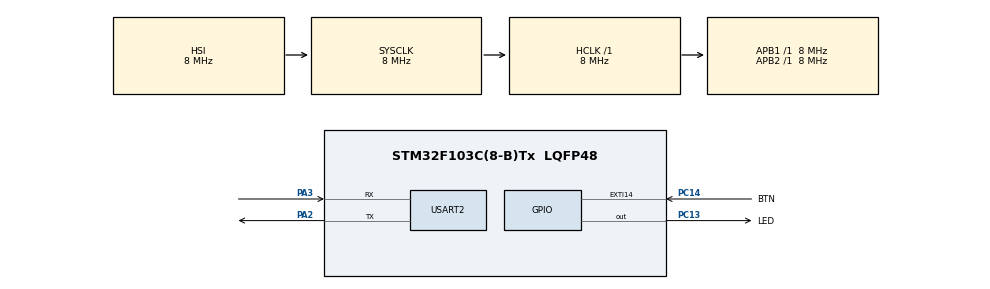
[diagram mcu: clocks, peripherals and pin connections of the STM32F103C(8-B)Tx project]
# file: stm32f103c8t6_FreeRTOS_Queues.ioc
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Mcu.Family=STM32F1
Mcu.Name=STM32F103C(8-B)Tx
Mcu.Package=LQFP48
NVIC.EXTI15_10_IRQn=true\:5\:0\:true\:false\:true\:true\:true\:true
NVIC.PriorityGroup=NVIC_PRIORITYGROUP_4
NVIC.TIM4_IRQn=true\:15\:0\:false\:false\:true\:false\:true\:true
NVIC.TimeBase=TIM4_IRQn
NVIC.TimeBaseIP=TIM4
PA13.Mode=Serial_Wire
PA13.Signal=SYS_JTMS-SWDIO
PA14.Mode=Serial_Wire
PA14.Signal=SYS_JTCK-SWCLK
PA2.Mode=Asynchronous
PA2.Signal=USART2_TX
PA3.Mode=Asynchronous
PA3.Signal=USART2_RX
PC13-TAMPER-RTC.GPIO_Label=LED
PC13-TAMPER-RTC.GPIO_ModeDefaultOutputPP=GPIO_MODE_OUTPUT_PP
PC13-TAMPER-RTC.GPIO_PuPd=GPIO_PULLUP
PC13-TAMPER-RTC.Signal=GPIO_Output
PC14-OSC32_IN.GPIO_Label=BTN
PC14-OSC32_IN.GPIO_ModeDefaultEXTI=GPIO_MODE_IT_FALLING
PC14-OSC32_IN.GPIO_PuPd=GPIO_PULLUP
PC14-OSC32_IN.Signal=GPXTI14
ProjectManager.HeapSize=0x200
ProjectManager.StackSize=0x400
ProjectManager.TargetToolchain=STM32CubeIDE
RCC.AHBFreq_Value=8000000
RCC.APB1Freq_Value=8000000
RCC.APB1TimFreq_Value=8000000
RCC.APB2Freq_Value=8000000
RCC.APB2TimFreq_Value=8000000
RCC.HCLKFreq_Value=8000000
RCC.SYSCLKFreq_VALUE=8000000
RCC.USBFreq_Value=8000000
USART2.VirtualMode=VM_ASYNC
VP_SYS_VS_tim4.Mode=TIM4
board=custom

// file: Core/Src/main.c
/* USER CODE BEGIN Header */
/**
  ******************************************************************************
  * @file           : main.c
  * @brief          : Main program body
  ******************************************************************************
  * @attention
  *
  * Copyright (c) 2025 STMicroelectronics.
  * All rights reserved.
  *
  * This software is licensed under terms that can be found in the LICENSE file
  * in the root directory of this software component.
  * If no LICENSE file comes with this software, it is provided AS-IS.
  *
  ******************************************************************************
  */
/* USER CODE END Header */
#include "main.h"

/* USER CODE BEGIN Includes */
#include "FreeRTOS.h"
#include "task.h"
#include "queue.h"
#include <string.h>
#include <stdio.h>
#include <portmacro.h>
/* USER CODE END Includes */

/* USER CODE BEGIN PTD */
typedef struct{
	GPIO_TypeDef *GPIOx;
	uint32_t Pin;
}gpio_data_t;
/* USER CODE END PTD */

UART_HandleTypeDef huart2;

/* USER CODE BEGIN PV */
QueueHandle_t xQueue = NULL;
/* USER CODE END PV */

void SystemClock_Config(void);
static void MX_GPIO_Init(void);
static void MX_USART2_UART_Init(void);

/* USER CODE BEGIN 0 */

/* CallBacks */

/** Callbacks **/
gpio_data_t Led = {
		.GPIOx = LED_GPIO_Port,
		.Pin = LED_Pin
};

void HAL_GPIO_EXTI_Callback(uint16_t GPIO_Pin){
	gpio_data_t *p = &Led;
	BaseType_t pxHigherTaskWoken = pdFALSE;

	xQueueSendFromISR(xQueue, &p, &pxHigherTaskWoken);

	if (pxHigherTaskWoken == pdTRUE){
		portYIELD_FROM_ISR(pxHigherTaskWoken);
	}
}

void TaskLed(void *pvParams){
	gpio_data_t *Led;

	while(1){
		xQueueReceive(xQueue, &Led, portMAX_DELAY);
		HAL_GPIO_TogglePin(Led->GPIOx, Led->Pin);
	}
}

/* USER CODE END 0 */

int main(void)
{

  /* USER CODE BEGIN 1 */
	BaseType_t 	xReturn;
	BaseType_t uxStackDepth = 256;
  /* USER CODE END 1 */

  /* MCU Configuration--------------------------------------------------------*/

  /* Reset of all peripherals, Initializes the Flash interface and the Systick. */
  HAL_Init();

  /* Configure the system clock */
  SystemClock_Config();

  /* Initialize all configured peripherals */
  MX_GPIO_Init();
  MX_USART2_UART_Init();
  /* USER CODE BEGIN 2 */

  xReturn = xTaskCreate(TaskLed, "TaskLed", uxStackDepth, NULL, 1, NULL);
  if(xReturn != pdPASS){
  	   Error_Handler();
  }

  xQueue = xQueueCreate(3, sizeof(gpio_data_t*));

  /* USER CODE END 2 */

  /* Infinite loop */
  /* USER CODE BEGIN WHILE */

  vTaskStartScheduler();

  //Não use esse xPortStartScheduler
  //xPortStartScheduler();
  while (1)
  {
    /* USER CODE END WHILE */

  }
}

void SystemClock_Config(void)
{
  RCC_OscInitTypeDef RCC_OscInitStruct = {0};
  RCC_ClkInitTypeDef RCC_ClkInitStruct = {0};

  /** Initializes the RCC Oscillators according to the specified parameters
  * in the RCC_OscInitTypeDef structure.
  */
  RCC_OscInitStruct.OscillatorType = RCC_OSCILLATORTYPE_HSI;
  RCC_OscInitStruct.HSIState = RCC_HSI_ON;
  RCC_OscInitStruct.HSICalibrationValue = RCC_HSICALIBRATION_DEFAULT;
  RCC_OscInitStruct.PLL.PLLState = RCC_PLL_NONE;
  if (HAL_RCC_OscConfig(&RCC_OscInitStruct) != HAL_OK)
  {
    Error_Handler();
  }

  /** Initializes the CPU, AHB and APB buses clocks
  */
  RCC_ClkInitStruct.ClockType = RCC_CLOCKTYPE_HCLK|RCC_CLOCKTYPE_SYSCLK
                              |RCC_CLOCKTYPE_PCLK1|RCC_CLOCKTYPE_PCLK2;
  RCC_ClkInitStruct.SYSCLKSource = RCC_SYSCLKSOURCE_HSI;
  RCC_ClkInitStruct.AHBCLKDivider = RCC_SYSCLK_DIV1;
  RCC_ClkInitStruct.APB1CLKDivider = RCC_HCLK_DIV1;
  RCC_ClkInitStruct.APB2CLKDivider = RCC_HCLK_DIV1;

  if (HAL_RCC_ClockConfig(&RCC_ClkInitStruct, FLASH_LATENCY_0) != HAL_OK)
  {
    Error_Handler();
  }
}

static void MX_USART2_UART_Init(void)
{

  huart2.Instance = USART2;
  huart2.Init.BaudRate = 115200;
  huart2.Init.WordLength = UART_WORDLENGTH_8B;
  huart2.Init.StopBits = UART_STOPBITS_1;
  huart2.Init.Parity = UART_PARITY_NONE;
  huart2.Init.Mode = UART_MODE_TX_RX;
  huart2.Init.HwFlowCtl = UART_HWCONTROL_NONE;
  huart2.Init.OverSampling = UART_OVERSAMPLING_16;
  if (HAL_UART_Init(&huart2) != HAL_OK)
  {
    Error_Handler();
  }

}

static void MX_GPIO_Init(void)
{
  GPIO_InitTypeDef GPIO_InitStruct = {0};

  /* GPIO Ports Clock Enable */
  __HAL_RCC_GPIOC_CLK_ENABLE();
  __HAL_RCC_GPIOA_CLK_ENABLE();

  /*Configure GPIO pin Output Level */
  HAL_GPIO_WritePin(LED_GPIO_Port, LED_Pin, GPIO_PIN_RESET);

  /*Configure GPIO pin : LED_Pin */
  GPIO_InitStruct.Pin = LED_Pin;
  GPIO_InitStruct.Mode = GPIO_MODE_OUTPUT_PP;
  GPIO_InitStruct.Pull = GPIO_PULLUP;
  GPIO_InitStruct.Speed = GPIO_SPEED_FREQ_LOW;
  HAL_GPIO_Init(LED_GPIO_Port, &GPIO_InitStruct);

  /*Configure GPIO pin : BTN_Pin */
  GPIO_InitStruct.Pin = BTN_Pin;
  GPIO_InitStruct.Mode = GPIO_MODE_IT_FALLING;
  GPIO_InitStruct.Pull = GPIO_PULLUP;
  HAL_GPIO_Init(BTN_GPIO_Port, &GPIO_InitStruct);

  /* EXTI interrupt init*/
  HAL_NVIC_SetPriority(EXTI15_10_IRQn, 5, 0);
  HAL_NVIC_EnableIRQ(EXTI15_10_IRQn);

}

/* USER CODE BEGIN 4 */
int __io_putchar(int ch){
	HAL_UART_Transmit(&huart2, (uint8_t*)&ch, 1, 10);
	return ch;
}
/* USER CODE END 4 */

void HAL_TIM_PeriodElapsedCallback(TIM_HandleTypeDef *htim)
{
  if (htim->Instance == TIM4)
  {
    HAL_IncTick();
  }
}

void Error_Handler(void)
{
  __disable_irq();
  while (1)
  {
  }
}
